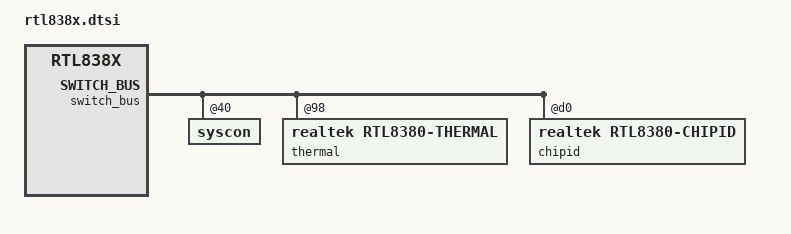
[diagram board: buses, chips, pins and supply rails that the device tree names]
// SPDX-License-Identifier: GPL-2.0-or-later OR BSD-2-Clause

/ {
	cpus {
		#address-cells = <1>;
		#size-cells = <0>;

		cpu@0 {
			compatible = "mips,mips4KEc";
			reg = <0>;
			clocks = <&baseclk 0>;
			clock-names = "cpu";
		};
	};

	baseclk: baseclk {
		compatible = "fixed-clock";
		#clock-cells = <0>;
		clock-frequency = <500000000>;
	};

	thermal-zones {
		thermal-z0 {
			polling-delay-passive = <250>;
			polling-delay = <1000>;
			thermal-sensors = <&thermal 0>;
			trips {
				critical {
					temperature = <105000>;
					hysteresis = <2000>;
					type = "critical";
				};
			};
		};
	};
};

&switch_bus {
	syscon@40 {
		compatible = "syscon", "simple-mfd";
		reg = <0x40 0x4>;

		sysreset: sysreset@0 {
			compatible = "syscon-reboot";
			offset = <0x0>;
			mask = <0x1>;
		};

	};

	thermal: thermal@98 {
		compatible = "realtek,rtl8380-thermal";
		reg = <0x98 0x10>;
		#thermal-sensor-cells = <0>;
	};

	chipid@d0 {
		compatible = "realtek,rtl8380-chipid";
		reg = <0xd0 0x10>;
	};
};
